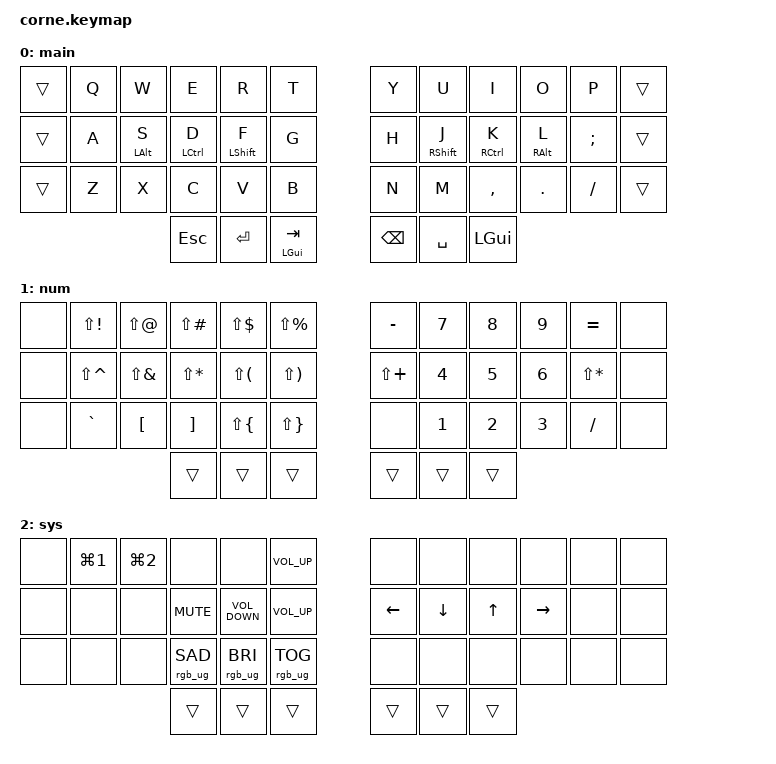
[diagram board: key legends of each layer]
#include <behaviors.dtsi>
#include <dt-bindings/zmk/keys.h>
#include <dt-bindings/zmk/rgb.h>

/ {
    behaviors {
        hm: homerow_mod {
            compatible = "zmk,behavior-hold-tap";
            label = "HOMEROW_MOD";
            bindings = <&kp>, <&kp>;

            #binding-cells = <2>;
            flavor = "tap-preferred";
            tapping-term-ms = <250>;
            hold-trigger-key-positions = <16 15 14 19 20 21>;
        };
    };

    keymap {
        compatible = "zmk,keymap";

        main {
            bindings = <
&trans  &kp Q  &kp W       &kp E        &kp R         &kp T           &kp Y     &kp U         &kp I        &kp O       &kp P     &trans
&trans  &kp A  &hm LALT S  &hm LCTRL D  &hm LSHIFT F  &kp G           &kp H     &hm RSHIFT J  &hm RCTRL K  &hm RALT L  &kp SEMI  &trans
&trans  &kp Z  &kp X       &kp C        &kp V         &kp B           &kp N     &kp M         &kp COMMA    &kp DOT     &kp FSLH  &trans
                           &kp ESC      &kp RET       &mt LGUI TAB    &kp BSPC  &kp SPACE     &kp LGUI
            >;
        };

        num {
            bindings = <
&none  &kp LS(EXCL)   &kp LS(AT)    &kp LS(POUND)  &kp LS(DLLR)  &kp LS(PRCNT)    &kp MINUS     &kp N7  &kp N8  &kp N9  &kp EQUAL     &none
&none  &kp LS(CARET)  &kp LS(AMPS)  &kp LS(STAR)   &kp LS(LPAR)  &kp LS(RPAR)     &kp LS(PLUS)  &kp N4  &kp N5  &kp N6  &kp LS(STAR)  &none
&none  &kp GRAVE      &kp LBKT      &kp RBKT       &kp LS(LBRC)  &kp LS(RBRC)     &none         &kp N1  &kp N2  &kp N3  &kp FSLH      &none
                                    &trans         &trans        &trans           &trans        &trans  &trans
            >;
        };

        sys {
            bindings = <
&none  &kp LG(NUMBER_1)  &kp LG(NUMBER_2)  &none            &none              &kp C_VOLUME_UP    &none     &none     &none   &none      &none  &none
&none  &none             &none             &kp K_MUTE       &kp C_VOLUME_DOWN  &kp C_VOLUME_UP    &kp LEFT  &kp DOWN  &kp UP  &kp RIGHT  &none  &none
&none  &none             &none             &rgb_ug RGB_SAD  &rgb_ug RGB_BRI    &rgb_ug RGB_TOG    &none     &none     &none   &none      &none  &none
                                           &trans           &trans             &trans             &trans    &trans    &trans
            >;
        };
    };
};
